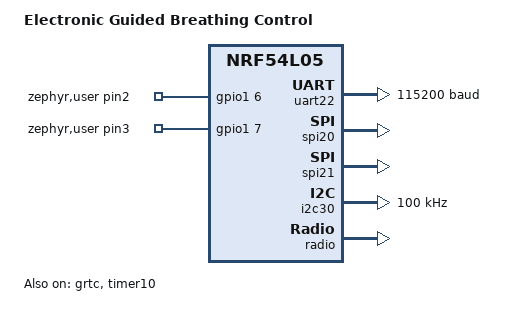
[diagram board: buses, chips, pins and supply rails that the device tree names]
/dts-v1/;
#include <nordic/nrf54l05_cpuapp.dtsi>
#include <nordic/nrf54l05_partition.dtsi>
#include "semester_project-pinctrl.dtsi"

/ {
	model = "Electronic Guided Breathing Control";
	compatible = "RokErnLin,semester-project-cpuapp","nordic,nrf54l05";

	chosen {
		zephyr,console = &uart22;
		zephyr,shell-uart = &uart22;
		zephyr,uart-mcumgr = &uart22;
		zephyr,bt-mon-uart = &uart22;
		zephyr,bt-c2h-uart = &uart22;

		zephyr,code-partition = &slot0_partition;
		zephyr,sram = &cpuapp_sram;
		zephyr,flash = &cpuapp_rram;
		zephyr,flash-controller = &rram_controller;
	};

	zephyr,user {
		pin2-gpios = <&gpio1 6 GPIO_ACTIVE_HIGH>;
		pin3-gpios = <&gpio1 7 GPIO_ACTIVE_HIGH>;
		//int_6ax_1-gpios = <&gpio0 2 0>;
		//int_6ax_2-gpios = <&gpio0 3 0>;
		//int_3bx-gpios = <&gpio2 0 0>;
	};
};

&grtc {
	owned-channels = <0 1 2 3 4 5 6 7 8 9 10 11>;
	/* Channels 7-11 reserved for Zero Latency IRQs, 3-4 for FLPR */
	child-owned-channels = <3 4 7 8 9 10 11>;
	status = "okay";
};

&cpuapp_sram {
	status = "okay";
	reg = <0x20000000 DT_SIZE_K(96)>;
	ranges = <0x0 0x20000000 DT_SIZE_K(96)>;
};

&gpio1 {
	status = "okay";
};

&gpio0 {
	status = "okay";
};

&gpio2 {
    status = "okay";
};

&uart22 {
    status = "okay";
    pinctrl-0 = <&uart22_default>;
    pinctrl-1 = <&uart22_sleep>;
    pinctrl-names = "default", "sleep";
    current-speed = <115200>;
};

&spi20 {
	status = "okay";
	pinctrl-0 = <&spi20_default>;
	pinctrl-1 = <&spi20_sleep>;
	pinctrl-names = "default", "sleep";
	cs-gpios = <&gpio2 5 GPIO_ACTIVE_LOW>;
};

&spi21 {
	status = "okay";
	pinctrl-0 = <&spi21_default>;
	pinctrl-1 = <&spi21_sleep>;
	pinctrl-names = "default", "sleep";
	cs-gpios = <&gpio2 10 GPIO_ACTIVE_LOW>;
};

&gpiote20 {
	status = "okay";
};

&gpiote30 {
	status = "okay";
};

&i2c30 {
    status = "okay";
	compatible = "nordic,nrf-twim";
    clock-frequency = <I2C_BITRATE_STANDARD>;
    pinctrl-0 = <&i2c30_default>;
    pinctrl-1 = <&i2c30_sleep>;
    pinctrl-names = "default", "sleep";
};

&clock {
	status = "okay";
};

&timer10 {
	status = "okay";
};

&radio {
	status = "okay";
};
